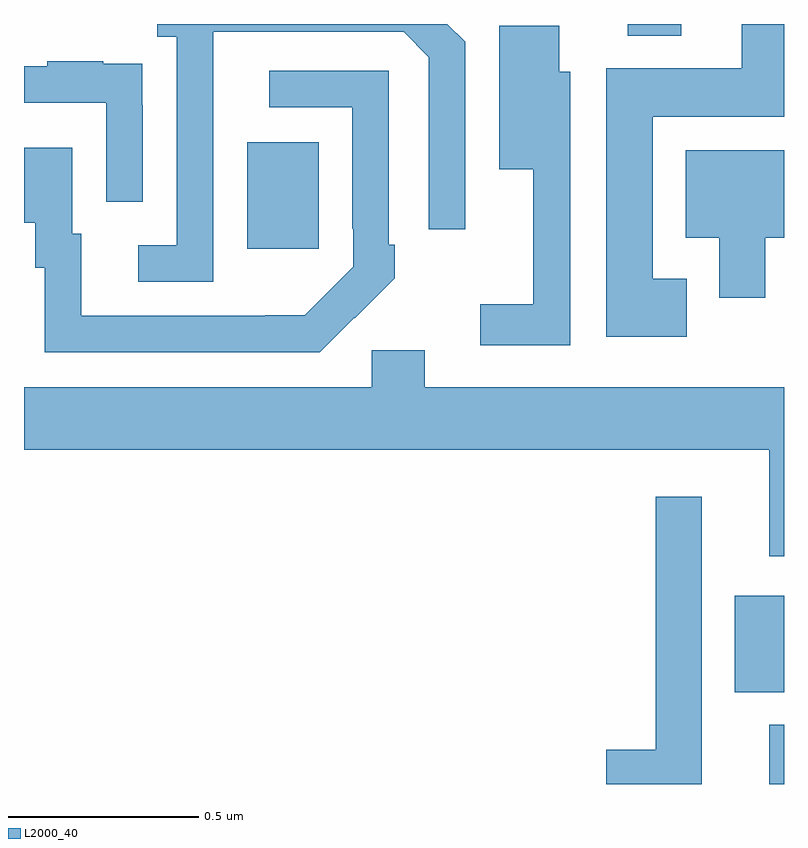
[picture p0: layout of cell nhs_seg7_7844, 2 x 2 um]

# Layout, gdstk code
import gdstk
lib = gdstk.Library(unit=1e-6, precision=1e-09)
def R(c, l, rs):  # rectangles x0, y0, x1, y1
    for r in rs: c.add(gdstk.rectangle(r[:2], r[2:], *l))
def P(c, l, *ps):  # polygons
    for p in ps: c.add(gdstk.Polygon(p, *l))
L2000_40 = (2000, 40)

nhs_seg7_7844 = lib.new_cell('nhs_seg7_7844')
R(nhs_seg7_7844, L2000_40, [(217.961,1069,218,1069.156), (217.871,1069.241,218,1069.495), (216.587,1070.409,216.775,1070.689), (217.589,1070.969,217.729,1071)])
P(nhs_seg7_7844, L2000_40, [(216.498,1070.979),(216.999,1070.979),(217.065,1070.913),(217.065,1070.46),(217.161,1070.46),(217.161,1070.953),(217.114,1071),(216.351,1071),(216.351,1070.966),(216.402,1070.966),(216.402,1070.418),(216.3,1070.418),(216.3,1070.322),(216.498,1070.322)],
  [(217.744,1070.329),(217.654,1070.329),(217.654,1070.756),(218,1070.756),(218,1071),(217.889,1071),(217.889,1070.884),(217.532,1070.884),(217.532,1070.177),(217.744,1070.177)],
  [(217.437,1070.875),(217.408,1070.875),(217.408,1070.995),(217.25,1070.995),(217.25,1070.618),(217.34,1070.618),(217.34,1070.263),(217.2,1070.263),(217.2,1070.154),(217.437,1070.154)],
  [(216.312,1070.786),(216.311,1070.786),(216.311,1070.895),(216.209,1070.895),(216.209,1070.902),(216.061,1070.902),(216.061,1070.889),(216,1070.889),(216,1070.793),(216.216,1070.793),(216.216,1070.532),(216.312,1070.532)],
  [(216.869,1070.227),(216.87,1070.226),(216.975,1070.331),(216.975,1070.419),(216.96,1070.419),(216.96,1070.877),(216.645,1070.877),(216.645,1070.781),(216.864,1070.781),(216.864,1070.461),(216.867,1070.461),(216.867,1070.361),(216.739,1070.233),(216.635,1070.233),(216.635,1070.232),(216.151,1070.232),(216.151,1070.448),(216.127,1070.448),(216.127,1070.674),(216,1070.674),(216,1070.477),(216.029,1070.477),(216.029,1070.358),(216.054,1070.358),(216.054,1070.136),(216.778,1070.136)],
  [(217.951,1070.438),(218,1070.438),(218,1070.668),(217.742,1070.668),(217.742,1070.438),(217.829,1070.438),(217.829,1070.28),(217.951,1070.28)],
  [(218,1070.044),(217.054,1070.044),(217.054,1070.142),(216.915,1070.142),(216.915,1070.044),(216,1070.044),(216,1069.88),(217.961,1069.88),(217.961,1069.599),(218,1069.599)],
  [(217.783,1069.756),(217.662,1069.756),(217.662,1069.09),(217.532,1069.09),(217.532,1069),(217.783,1069)])

lib.write_gds('nhs_seg7_7844.gds')
